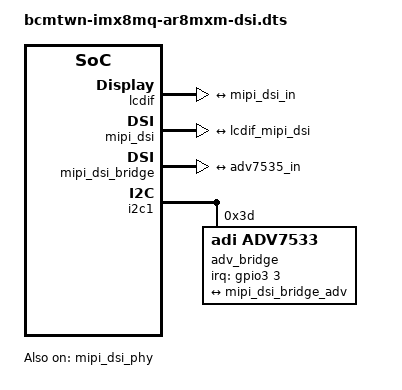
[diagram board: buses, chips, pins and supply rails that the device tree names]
/*
 */

#include "bcmtwn-imx8mq-ar8mxm.dts"

/ {
	display-subsystem {
		status = "disabled";
	};

	sound-hdmi {
		status = "disabled";
	};
};

&irqsteer_dcss {
	status = "disabled";
};

&dcss {
	status = "disabled";
};

&hdmi {
	status = "disabled";
};

&lcdif {
	status = "okay";
	max-res = <1280>, <720>;

	port@0 {
		lcdif_mipi_dsi: mipi-dsi-endpoint {
			remote-endpoint = <&mipi_dsi_in>;
		};
	};
};

&mipi_dsi_phy {
	status = "okay";
};

&mipi_dsi {
	status = "okay";
	as_bridge;
	sync-pol = <1>;
	pwr-delay = <10>;

	port@1 {
		mipi_dsi_in: endpoint {
			remote-endpoint = <&lcdif_mipi_dsi>;
		};
	};
};

&mipi_dsi_bridge {
	status = "okay";

	port@1 {
		mipi_dsi_bridge_adv: endpoint {
			remote-endpoint = <&adv7535_in>;
		};
	};
};

&iomuxc {
	imx8mq-ar8mxm {
		pinctrl_i2c1_dsi_ts_int: dsi_ts_int {
			fsl,pins = <
				MX8MQ_IOMUXC_NAND_CE2_B_GPIO3_IO3		0x16
			>;
		};
    };
};

&i2c1 {
	adv_bridge: adv7535@3d {
		compatible = "adi,adv7533";
		reg = <0x3d>;
		adi,addr-cec = <0x3b>;
		adi,dsi-lanes = <4>;
		pinctrl-0 = <&pinctrl_i2c1_dsi_ts_int>;
		interrupt-parent = <&gpio3>;
		interrupts = <3 IRQ_TYPE_LEVEL_LOW>;

		status = "okay";

		port {
			adv7535_in: endpoint {
				remote-endpoint = <&mipi_dsi_bridge_adv>;
			};
		};
	};
};


